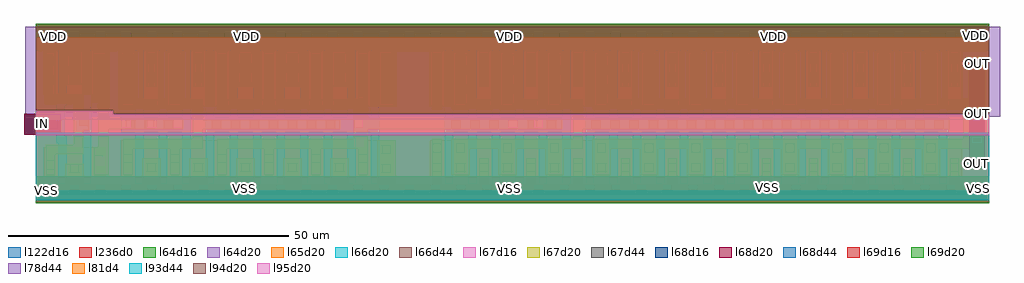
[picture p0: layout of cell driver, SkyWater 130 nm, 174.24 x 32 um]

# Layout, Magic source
magic
tech sky130a
<< l67d44 >>
rect 222695 203080 222865 203250
rect 222235 203080 222405 203250
rect 222695 200360 222865 200530
rect 206208 201536 206378 201706
rect 222235 200360 222405 200530
rect 205813 201537 205983 201707
rect 222703 201720 222873 201890
rect 222703 201287 222873 201457
rect 222703 202153 222873 202323
rect 222703 202585 222873 202755
rect 222703 200855 222873 201025
<< l67d20 >>
rect 207285 201520 207510 201720
rect 211915 201520 212975 201720
rect 205776 201430 206095 201800
<< l68d20 >>
rect 205776 201430 206435 201800
rect 222650 200825 222925 202785
<< l68d16 >>
rect 205776 201430 206435 201800
rect 222650 200835 222925 202781
<< l68d44 >>
rect 206145 203090 206295 203240
rect 206605 203090 206755 203240
rect 207525 203090 207675 203240
rect 207985 203090 208135 203240
rect 208445 203090 208595 203240
rect 208905 203090 209055 203240
rect 209365 203090 209515 203240
rect 207065 203090 207215 203240
rect 209825 203090 209975 203240
rect 210285 203090 210435 203240
rect 211205 203090 211355 203240
rect 211665 203090 211815 203240
rect 212125 203090 212275 203240
rect 212585 203090 212735 203240
rect 213045 203090 213195 203240
rect 210745 203090 210895 203240
rect 213505 203090 213655 203240
rect 213965 203090 214115 203240
rect 214885 203090 215035 203240
rect 215345 203090 215495 203240
rect 215805 203090 215955 203240
rect 216265 203090 216415 203240
rect 216725 203090 216875 203240
rect 214425 203090 214575 203240
rect 217185 203090 217335 203240
rect 217645 203090 217795 203240
rect 218565 203090 218715 203240
rect 219025 203090 219175 203240
rect 219485 203090 219635 203240
rect 219945 203090 220095 203240
rect 220405 203090 220555 203240
rect 218105 203090 218255 203240
rect 220865 203090 221015 203240
rect 221325 203090 221475 203240
rect 221785 203090 221935 203240
rect 222245 203090 222395 203240
rect 222705 203090 222855 203240
rect 206145 200370 206295 200520
rect 206605 200370 206755 200520
rect 207525 200370 207675 200520
rect 207985 200370 208135 200520
rect 208445 200370 208595 200520
rect 208905 200370 209055 200520
rect 209365 200370 209515 200520
rect 207065 200370 207215 200520
rect 209825 200370 209975 200520
rect 210285 200370 210435 200520
rect 211205 200370 211355 200520
rect 211665 200370 211815 200520
rect 212125 200370 212275 200520
rect 212585 200370 212735 200520
rect 213045 200370 213195 200520
rect 210745 200370 210895 200520
rect 213505 200370 213655 200520
rect 213965 200370 214115 200520
rect 214885 200370 215035 200520
rect 215345 200370 215495 200520
rect 215805 200370 215955 200520
rect 216265 200370 216415 200520
rect 216725 200370 216875 200520
rect 214425 200370 214575 200520
rect 217185 200370 217335 200520
rect 217645 200370 217795 200520
rect 218565 200370 218715 200520
rect 219025 200370 219175 200520
rect 219485 200370 219635 200520
rect 219945 200370 220095 200520
rect 220405 200370 220555 200520
rect 218105 200370 218255 200520
rect 220865 200370 221015 200520
rect 221325 200370 221475 200520
rect 221785 200370 221935 200520
rect 222245 200370 222395 200520
rect 222705 200370 222855 200520
<< l69d20 >>
rect 205990 202925 223010 203405
rect 205990 200205 223010 200685
<< l69d16 >>
rect 205990 202925 223010 203405
rect 205990 200205 223010 200685
<< labels >>
rlabel l68d5 206098 201634 206098 201634 0 IN
rlabel l68d5 222797 202697 222797 202697 0 OUT
rlabel l68d5 222787 200917 222787 200917 0 OUT
rlabel l68d5 222791 201805 222791 201805 0 OUT
rlabel l69d5 206178 200438 206178 200438 0 VSS
rlabel l69d5 222820 200459 222820 200459 0 VSS
rlabel l69d5 214450 200470 214450 200470 0 VSS
rlabel l69d5 209714 200459 209714 200459 0 VSS
rlabel l69d5 219055 200492 219055 200492 0 VSS
rlabel l69d5 206298 203177 206298 203177 0 VDD
rlabel l69d5 222755 203199 222755 203199 0 VDD
rlabel l69d5 214439 203188 214439 203188 0 VDD
rlabel l69d5 209757 203177 209757 203177 0 VDD
rlabel l69d5 219153 203188 219153 203188 0 VDD
use sky130_fd_sc_hd__buf_16 sky130_fd_sc_hd__buf_16_1
transform 1 0 212890 0 1 200445
box -190 -240 10310 2960
use sky130_fd_sc_hd__buf_8 sky130_fd_sc_hd__buf_8_1
transform 1 0 207370 0 1 200445
box -190 -240 5710 2960
use sky130_fd_sc_hd__buf_1 sky130_fd_sc_hd__buf_1_1
transform 1 0 205990 0 1 200445
box -190 -240 1570 2960
<< end >>

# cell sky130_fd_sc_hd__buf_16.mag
magic
tech sky130a
<< l66d20 >>
rect 395 105 545 1025
rect 815 105 965 1025
rect 1235 105 1385 1025
rect 1655 105 1805 1025
rect 2075 105 2225 1025
rect 2495 105 2645 1025
rect 395 1025 2645 1295
rect 395 1295 545 2615
rect 815 1295 965 2615
rect 1235 1295 1385 2615
rect 1655 1295 1805 2615
rect 2075 1295 2225 2615
rect 2495 1295 2645 2615
rect 2915 105 3065 1025
rect 3335 105 3485 1025
rect 3755 105 3905 1025
rect 4175 105 4325 1025
rect 4595 105 4745 1025
rect 5015 105 5165 1025
rect 5435 105 5585 1025
rect 5855 105 6005 1025
rect 6275 105 6425 1025
rect 6695 105 6845 1025
rect 7115 105 7265 1025
rect 7535 105 7685 1025
rect 7955 105 8105 1025
rect 8375 105 8525 1025
rect 8795 105 8945 1025
rect 9215 105 9365 1025
rect 2915 1025 9385 1295
rect 2915 1295 3065 2615
rect 3335 1295 3485 2615
rect 3755 1295 3905 2615
rect 4175 1295 4325 2615
rect 4595 1295 4745 2615
rect 5015 1295 5165 2615
rect 5435 1295 5585 2615
rect 5855 1295 6005 2615
rect 6275 1295 6425 2615
rect 6695 1295 6845 2615
rect 7115 1295 7265 2615
rect 7535 1295 7685 2615
rect 7955 1295 8105 2615
rect 8375 1295 8525 2615
rect 8795 1295 8945 2615
rect 9215 1295 9365 2615
<< l94d20 >>
rect 0 1355 10120 2910
<< l66d44 >>
rect 4715 1075 4885 1245
rect 4795 2225 4965 2395
rect 4795 1885 4965 2055
rect 4795 1545 4965 1715
rect 4795 655 4965 825
rect 4795 315 4965 485
rect 5055 1075 5225 1245
rect 5215 2255 5385 2425
rect 5215 1915 5385 2085
rect 5215 315 5385 485
rect 5395 1075 5565 1245
rect 5635 2225 5805 2395
rect 5635 1885 5805 2055
rect 5635 1545 5805 1715
rect 5635 655 5805 825
rect 5635 315 5805 485
rect 5735 1075 5905 1245
rect 6055 2255 6225 2425
rect 6055 1915 6225 2085
rect 6055 315 6225 485
rect 6075 1075 6245 1245
rect 6415 1075 6585 1245
rect 6475 2225 6645 2395
rect 6475 1885 6645 2055
rect 6475 1545 6645 1715
rect 6475 655 6645 825
rect 6475 315 6645 485
rect 6755 1075 6925 1245
rect 6895 2255 7065 2425
rect 6895 1915 7065 2085
rect 9415 315 9585 485
rect 6895 315 7065 485
rect 7095 1075 7265 1245
rect 7315 2225 7485 2395
rect 7315 1885 7485 2055
rect 7315 1545 7485 1715
rect 7315 655 7485 825
rect 7315 315 7485 485
rect 7435 1075 7605 1245
rect 7735 2255 7905 2425
rect 7735 1915 7905 2085
rect 7735 315 7905 485
rect 7775 1075 7945 1245
rect 8115 1075 8285 1245
rect 8155 2225 8325 2395
rect 8155 1885 8325 2055
rect 8155 1545 8325 1715
rect 8155 655 8325 825
rect 8155 315 8325 485
rect 8455 1075 8625 1245
rect 8575 2255 8745 2425
rect 8575 1915 8745 2085
rect 8575 315 8745 485
rect 8795 1075 8965 1245
rect 8995 2225 9165 2395
rect 8995 1885 9165 2055
rect 8995 1545 9165 1715
rect 8995 655 9165 825
rect 8995 315 9165 485
rect 9135 1075 9305 1245
rect 9415 2255 9585 2425
rect 9415 1915 9585 2085
rect 1015 1915 1185 2085
rect 1015 315 1185 485
rect 1195 1075 1365 1245
rect 1435 2225 1605 2395
rect 1855 1915 2025 2085
rect 1855 315 2025 485
rect 1875 1075 2045 1245
rect 2215 1075 2385 1245
rect 2275 2225 2445 2395
rect 2275 1885 2445 2055
rect 2275 1545 2445 1715
rect 2275 655 2445 825
rect 2275 315 2445 485
rect 2695 2255 2865 2425
rect 3955 1885 4125 2055
rect 3955 1545 4125 1715
rect 3955 655 4125 825
rect 3955 315 4125 485
rect 4035 1075 4205 1245
rect 4375 2255 4545 2425
rect 4375 1915 4545 2085
rect 4375 1075 4545 1245
rect 4375 315 4545 485
rect 1435 1885 1605 2055
rect 1435 1545 1605 1715
rect 1435 655 1605 825
rect 1435 315 1605 485
rect 1535 1075 1705 1245
rect 1855 2255 2025 2425
rect 595 1885 765 2055
rect 595 1545 765 1715
rect 595 655 765 825
rect 595 315 765 485
rect 855 1075 1025 1245
rect 1015 2255 1185 2425
rect 175 2255 345 2425
rect 175 1915 345 2085
rect 175 1575 345 1745
rect 175 655 345 825
rect 175 315 345 485
rect 515 1075 685 1245
rect 595 2225 765 2395
rect 3535 2255 3705 2425
rect 3535 1915 3705 2085
rect 3535 315 3705 485
rect 3695 1075 3865 1245
rect 3955 2225 4125 2395
rect 2695 1915 2865 2085
rect 2695 315 2865 485
rect 3015 1075 3185 1245
rect 3115 2225 3285 2395
rect 3115 1885 3285 2055
rect 3115 1545 3285 1715
rect 3115 655 3285 825
rect 3115 315 3285 485
rect 3355 1075 3525 1245
<< l67d44 >>
rect 8425 2635 8595 2805
rect 8425 -85 8595 85
rect 145 2635 315 2805
rect 145 -85 315 85
rect 605 2635 775 2805
rect 605 -85 775 85
rect 1065 2635 1235 2805
rect 1065 -85 1235 85
rect 1525 2635 1695 2805
rect 1525 -85 1695 85
rect 1985 2635 2155 2805
rect 1985 -85 2155 85
rect 2445 2635 2615 2805
rect 2445 -85 2615 85
rect 2905 2635 3075 2805
rect 2905 -85 3075 85
rect 3365 2635 3535 2805
rect 3365 -85 3535 85
rect 3825 2635 3995 2805
rect 3825 -85 3995 85
rect 4285 2635 4455 2805
rect 4285 -85 4455 85
rect 4745 2635 4915 2805
rect 4745 -85 4915 85
rect 5205 2635 5375 2805
rect 5205 -85 5375 85
rect 5665 2635 5835 2805
rect 5665 -85 5835 85
rect 6125 2635 6295 2805
rect 6125 -85 6295 85
rect 6585 2635 6755 2805
rect 6585 -85 6755 85
rect 7045 2635 7215 2805
rect 7045 -85 7215 85
rect 7505 2635 7675 2805
rect 7505 -85 7675 85
rect 7965 2635 8135 2805
rect 7965 -85 8135 85
rect 8885 2635 9055 2805
rect 8885 -85 9055 85
rect 9345 2635 9515 2805
rect 9345 -85 9515 85
rect 9805 2635 9975 2805
rect 9805 -85 9975 85
<< l95d20 >>
rect 0 975 10120 1345
<< l67d20 >>
rect 0 -85 10120 85
rect 1015 85 1185 565
rect 1855 85 2025 565
rect 2695 85 2865 565
rect 3535 85 3705 565
rect 4375 85 4545 565
rect 5215 85 5385 565
rect 6055 85 6225 565
rect 6895 85 7065 565
rect 7735 85 7905 565
rect 8575 85 8745 565
rect 9415 85 9585 565
rect 175 85 345 905
rect 175 1445 345 2635
rect 1015 1835 1185 2635
rect 1855 1835 2025 2635
rect 2695 1835 2865 2635
rect 3535 1835 3705 2635
rect 4375 1835 4545 2635
rect 5215 1835 5385 2635
rect 6055 1835 6225 2635
rect 6895 1835 7065 2635
rect 7735 1835 7905 2635
rect 8575 1835 8745 2635
rect 9415 1835 9585 2635
rect 0 2635 10120 2805
rect 515 260 845 735
rect 1355 260 1685 735
rect 2195 260 2525 735
rect 515 735 2865 905
rect 2690 905 2865 1075
rect 2690 1075 9410 1275
rect 2690 1275 2865 1445
rect 515 1445 2865 1615
rect 515 1615 845 2465
rect 1355 1615 1685 2465
rect 2195 1615 2525 2465
rect 3035 255 3285 260
rect 3955 255 4125 260
rect 4795 255 4965 260
rect 3035 260 3365 735
rect 3875 260 4205 735
rect 4715 260 5045 735
rect 5555 260 5885 735
rect 6395 260 6725 735
rect 7235 260 7565 735
rect 8075 260 8405 735
rect 8915 260 9245 735
rect 9760 365 10035 735
rect 3035 735 10035 905
rect 9655 905 10035 1445
rect 3035 1445 10035 1615
rect 9760 1615 10035 2360
rect 3035 1615 3365 2465
rect 3875 1615 4205 2465
rect 4715 1615 5045 2465
rect 5555 1615 5885 2465
rect 6395 1615 6725 2465
rect 7235 1615 7565 2465
rect 8075 1615 8405 2465
rect 8915 1615 9245 2465
rect 85 1075 2485 1275
<< l68d20 >>
rect 0 -240 10120 240
rect 0 2480 10120 2960
<< l65d20 >>
rect 135 1485 9625 2485
rect 135 235 9625 885
<< l93d44 >>
rect 0 -190 10120 1015
<< l64d20 >>
rect -190 1305 10310 2910
<< l68d16 >>
rect 150 -85 320 85
rect 150 2635 320 2805
<< l236d0 >>
rect 0 0 10120 2720
<< l122d16 >>
rect 150 -85 320 85
<< l64d16 >>
rect 150 2635 320 2805
<< l81d4 >>
rect 0 0 10120 2720
<< l78d44 >>
rect 0 1250 10120 2720
<< l67d16 >>
rect 1530 1105 1700 1275
rect 1990 1105 2160 1275
rect 9805 1445 9975 1615
rect 9805 1105 9975 1275
<< labels >>
rlabel l67d5 2075 1190 2075 1190 0 A
rlabel l67d5 1615 1190 1615 1190 0 A
rlabel l67d5 9890 1190 9890 1190 0 X
rlabel l67d5 9890 1530 9890 1530 0 X
rlabel l64d59 235 0 235 0 0 VNB
rlabel l64d5 235 2720 235 2720 0 VPB
rlabel l68d5 230 0 230 0 0 VGND
rlabel l68d5 230 2720 230 2720 0 VPWR
rlabel l83d44 0 0 0 0 0 buf_16
<< end >>

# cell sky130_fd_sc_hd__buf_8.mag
magic
tech sky130a
<< l66d20 >>
rect 395 105 545 1015
rect 140 1015 545 1025
rect 815 105 965 1025
rect 1235 105 1385 1025
rect 140 1025 1385 1295
rect 140 1295 545 1305
rect 395 1305 545 2615
rect 815 1295 965 2615
rect 1235 1295 1385 2615
rect 1655 105 1805 1025
rect 2075 105 2225 1025
rect 2495 105 2645 1025
rect 2915 105 3065 1025
rect 3335 105 3485 1025
rect 3755 105 3905 1025
rect 4175 105 4325 1025
rect 4595 105 4745 1025
rect 1655 1025 4745 1295
rect 1655 1295 1805 2615
rect 2075 1295 2225 2615
rect 2495 1295 2645 2615
rect 2915 1295 3065 2615
rect 3335 1295 3485 2615
rect 3755 1295 3905 2615
rect 4175 1295 4325 2615
rect 4595 1295 4745 2615
<< l94d20 >>
rect 0 1355 5520 2910
<< l66d44 >>
rect 4795 1575 4965 1745
rect 4795 635 4965 805
rect 4795 295 4965 465
rect 3115 315 3285 485
rect 3455 1075 3625 1245
rect 3535 1670 3705 1840
rect 3535 475 3705 645
rect 3115 1915 3285 2085
rect 2695 1670 2865 1840
rect 2275 1915 2445 2085
rect 4795 1915 4965 2085
rect 3955 2255 4125 2425
rect 3955 1915 4125 2085
rect 3955 315 4125 485
rect 4375 2145 4545 2315
rect 4375 1670 4545 1840
rect 175 2225 345 2395
rect 175 1885 345 2055
rect 175 1545 345 1715
rect 175 475 345 645
rect 220 1075 390 1245
rect 560 1075 730 1245
rect 595 2255 765 2425
rect 595 1915 765 2085
rect 595 315 765 485
rect 900 1075 1070 1245
rect 1015 2225 1185 2395
rect 1015 1885 1185 2055
rect 1015 1545 1185 1715
rect 1015 475 1185 645
rect 1435 2255 1605 2425
rect 1435 1915 1605 2085
rect 1435 315 1605 485
rect 1755 1075 1925 1245
rect 1855 2145 2025 2315
rect 1855 1670 2025 1840
rect 4375 475 4545 645
rect 4795 2255 4965 2425
rect 1855 475 2025 645
rect 2095 1075 2265 1245
rect 2275 2255 2445 2425
rect 2275 315 2445 485
rect 2435 1075 2605 1245
rect 2695 2145 2865 2315
rect 2695 475 2865 645
rect 2775 1075 2945 1245
rect 3115 2255 3285 2425
rect 3115 1075 3285 1245
rect 3795 1075 3965 1245
rect 3535 2145 3705 2315
<< l67d44 >>
rect 145 2635 315 2805
rect 145 -85 315 85
rect 605 2635 775 2805
rect 605 -85 775 85
rect 1065 2635 1235 2805
rect 1065 -85 1235 85
rect 1525 2635 1695 2805
rect 1525 -85 1695 85
rect 1985 2635 2155 2805
rect 1985 -85 2155 85
rect 2445 2635 2615 2805
rect 2445 -85 2615 85
rect 2905 2635 3075 2805
rect 2905 -85 3075 85
rect 3365 2635 3535 2805
rect 3365 -85 3535 85
rect 3825 2635 3995 2805
rect 3825 -85 3995 85
rect 4285 2635 4455 2805
rect 4285 -85 4455 85
rect 4745 2635 4915 2805
rect 4745 -85 4915 85
rect 5205 2635 5375 2805
rect 5205 -85 5375 85
<< l95d20 >>
rect 0 975 5520 1345
<< l67d20 >>
rect 175 255 345 735
rect 1015 260 1185 735
rect 175 735 1595 905
rect 1420 905 1595 1075
rect 1420 1075 4045 1245
rect 1420 1245 1595 1445
rect 95 1445 1595 1615
rect 95 1615 425 2465
rect 935 1615 1265 2465
rect 0 -85 5520 85
rect 515 85 845 565
rect 1355 85 1685 565
rect 2195 85 2525 565
rect 3035 85 3365 565
rect 3875 85 4205 565
rect 4715 85 5045 885
rect 595 1835 765 2635
rect 1435 1835 1605 2635
rect 2195 1835 2525 2635
rect 3035 1835 3365 2635
rect 3875 1835 4205 2635
rect 4715 1485 5045 2635
rect 0 2635 5520 2805
rect 1855 255 2025 735
rect 2695 255 2865 735
rect 3535 255 3705 735
rect 4375 255 4545 735
rect 1855 735 4545 905
rect 4290 905 4545 1445
rect 1855 1445 4545 1615
rect 1855 1615 2025 2465
rect 2695 1615 2865 2465
rect 3535 1615 3705 2465
rect 4375 1615 4545 2465
rect 140 1075 1240 1275
<< l68d20 >>
rect 0 2480 5520 2960
rect 0 -240 5520 240
<< l65d20 >>
rect 135 1485 5005 2485
rect 135 235 5005 885
<< l93d44 >>
rect 0 -190 5520 1015
<< l64d20 >>
rect -190 1305 5710 2910
<< l68d16 >>
rect 150 -85 320 85
rect 150 2635 320 2805
<< l236d0 >>
rect 0 0 5520 2720
<< l122d16 >>
rect 150 -85 320 85
<< l64d16 >>
rect 150 2635 320 2805
<< l81d4 >>
rect 0 0 5520 2720
<< l78d44 >>
rect 0 1250 5520 2720
<< l67d16 >>
rect 150 1105 320 1275
rect 610 1105 780 1275
rect 1070 1105 1240 1275
rect 4290 1445 4460 1615
rect 4290 1105 4460 1275
rect 4290 765 4460 935
rect 150 -85 320 85
rect 150 2635 320 2805
<< labels >>
rlabel l67d5 1155 1190 1155 1190 0 A
rlabel l67d5 4375 850 4375 850 0 X
rlabel l67d5 4375 1190 4375 1190 0 X
rlabel l67d5 695 1190 695 1190 0 A
rlabel l67d5 230 0 230 0 0 VGND
rlabel l67d5 235 2720 235 2720 0 VPWR
rlabel l67d5 4375 1530 4375 1530 0 X
rlabel l67d5 235 1190 235 1190 0 A
rlabel l64d59 235 0 235 0 0 VNB
rlabel l64d5 235 2720 235 2720 0 VPB
rlabel l68d5 230 0 230 0 0 VGND
rlabel l68d5 235 2720 235 2720 0 VPWR
rlabel l83d44 0 0 0 0 0 buf_8
<< end >>

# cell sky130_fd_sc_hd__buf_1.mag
magic
tech sky130a
<< l66d20 >>
rect 835 105 985 1060
rect 725 1060 995 1390
rect 835 1390 985 2615
rect 395 105 545 830
rect 365 830 545 950
rect 365 950 515 995
rect 135 995 515 1325
rect 365 1325 515 1500
rect 365 1500 545 1620
rect 395 1620 545 2615
<< l94d20 >>
rect 0 1420 1380 2910
<< l66d44 >>
rect 1035 445 1205 615
rect 1035 1810 1205 1980
rect 1035 2215 1205 2385
rect 775 1140 945 1310
rect 605 295 775 465
rect 605 1875 775 2045
rect 605 2215 775 2385
rect 185 1075 355 1245
rect 175 360 345 530
rect 175 1875 345 2045
rect 175 2215 345 2385
<< l67d44 >>
rect 1065 -85 1235 85
rect 1065 2635 1235 2805
rect 605 -85 775 85
rect 605 2635 775 2805
rect 145 -85 315 85
rect 145 2635 315 2805
<< l95d20 >>
rect 0 975 1380 1410
<< l67d20 >>
rect 1035 255 1295 760
rect 1115 760 1295 1560
rect 1025 1560 1295 2465
rect 0 -85 1380 85
rect 525 85 855 465
rect 175 255 345 635
rect 175 635 840 805
rect 670 805 840 1060
rect 670 1060 945 1390
rect 670 1390 840 1535
rect 165 1535 840 1705
rect 165 1705 345 2465
rect 525 1875 855 2635
rect 0 2635 1380 2805
rect 105 985 445 1355
<< l68d20 >>
rect 0 -240 1380 240
rect 0 2480 1380 2960
<< l65d20 >>
rect 135 235 1245 755
rect 135 1695 1245 2485
<< l93d44 >>
rect 0 -190 1380 1015
<< l64d20 >>
rect -190 1305 1570 2910
<< l68d16 >>
rect 155 -85 325 85
rect 145 2635 315 2805
<< l236d0 >>
rect 0 0 1380 2720
<< l122d16 >>
rect 155 -85 325 85
<< l64d16 >>
rect 145 2635 315 2805
<< l81d4 >>
rect 0 0 1380 2720
<< l78d44 >>
rect 0 1250 1380 2720
<< l67d16 >>
rect 1055 425 1225 595
rect 1055 1785 1225 1955
rect 1055 2125 1225 2295
rect 145 1105 315 1275
rect 145 2635 315 2805
rect 155 -85 325 85
<< labels >>
rlabel l67d5 230 2720 230 2720 0 VPWR
rlabel l67d5 230 0 230 0 0 VGND
rlabel l67d5 1140 510 1140 510 0 X
rlabel l67d5 1140 1870 1140 1870 0 X
rlabel l67d5 1140 2210 1140 2210 0 X
rlabel l67d5 230 1190 230 1190 0 A
rlabel l64d59 230 0 230 0 0 VNB
rlabel l64d5 230 2720 230 2720 0 VPB
rlabel l68d5 230 0 230 0 0 VGND
rlabel l68d5 230 2720 230 2720 0 VPWR
rlabel l83d44 0 0 0 0 0 buf_1
<< end >>
